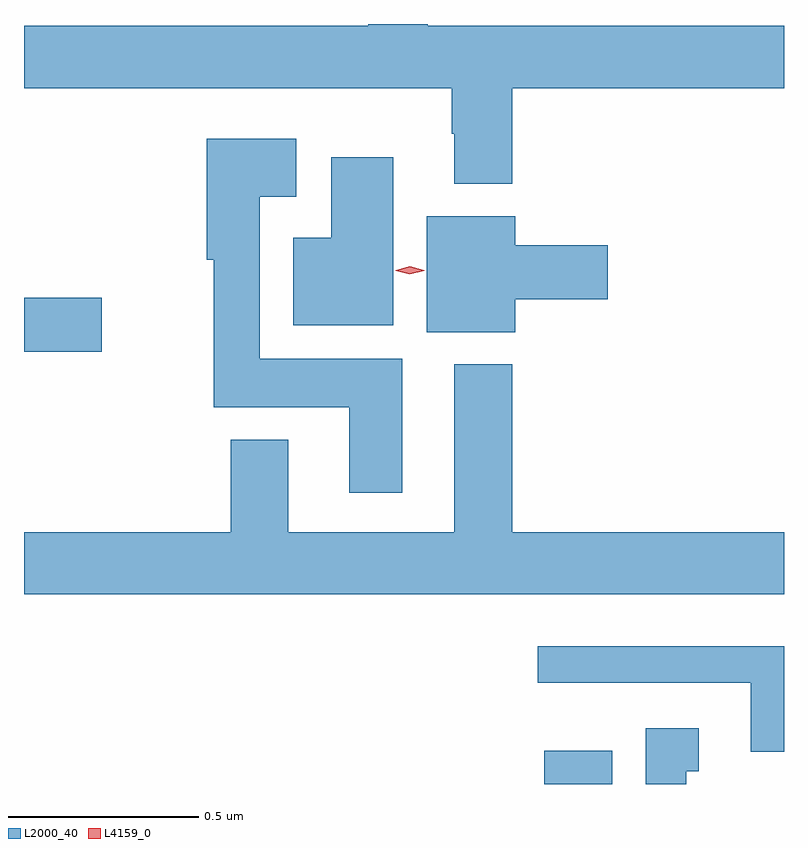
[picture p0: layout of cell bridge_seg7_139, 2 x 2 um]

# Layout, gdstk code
import gdstk
lib = gdstk.Library(unit=1e-6, precision=1e-09)
def R(c, l, rs):  # rectangles x0, y0, x1, y1
    for r in rs: c.add(gdstk.rectangle(r[:2], r[2:], *l))
def P(c, l, *ps):  # polygons
    for p in ps: c.add(gdstk.Polygon(p, *l))
L2000_40 = (2000, 40)
L4159_0 = (4159, 0)

bridge_seg7_139 = lib.new_cell('bridge_seg7_139')
R(bridge_seg7_139, L2000_40, [(738.77,998.785,738.949,998.872), (737.401,999.922,737.605,1000.064)])
P(bridge_seg7_139, L2000_40, [(738.686,1000.616),(739.401,1000.616),(739.401,1000.78),(738.464,1000.78),(738.464,1000.785),(738.307,1000.785),(738.307,1000.78),(737.401,1000.78),(737.401,1000.616),(738.526,1000.616),(738.526,1000.496),(738.533,1000.496),(738.533,1000.364),(738.686,1000.364)],
  [(738.397,999.904),(738.022,999.904),(738.022,1000.331),(738.118,1000.331),(738.118,1000.483),(737.882,1000.483),(737.882,1000.165),(737.9,1000.165),(737.9,999.776),(738.257,999.776),(738.257,999.552),(738.397,999.552)],
  [(738.373,1000.435),(738.209,1000.435),(738.209,1000.222),(738.11,1000.222),(738.11,999.992),(738.373,999.992)],
  [(738.694,1000.061),(738.937,1000.061),(738.937,1000.203),(738.694,1000.203),(738.694,1000.279),(738.461,1000.279),(738.461,999.974),(738.694,999.974)],
  [(739.401,999.448),(738.686,999.448),(738.686,999.889),(738.533,999.889),(738.533,999.448),(738.097,999.448),(738.097,999.691),(737.945,999.691),(737.945,999.448),(737.401,999.448),(737.401,999.284),(739.401,999.284)],
  [(739.401,999.148),(738.753,999.148),(738.753,999.051),(739.313,999.051),(739.313,998.87),(739.401,998.87)],
  [(739.144,998.819),(739.177,998.819),(739.177,998.932),(739.037,998.932),(739.037,998.785),(739.144,998.785)])
P(bridge_seg7_139, L4159_0, [(738.416,1000.127),(738.379,1000.136),(738.379,1000.137),(738.379,1000.137),(738.416,1000.147),(738.454,1000.137),(738.454,1000.137),(738.454,1000.136)])

lib.write_gds('bridge_seg7_139.gds')
